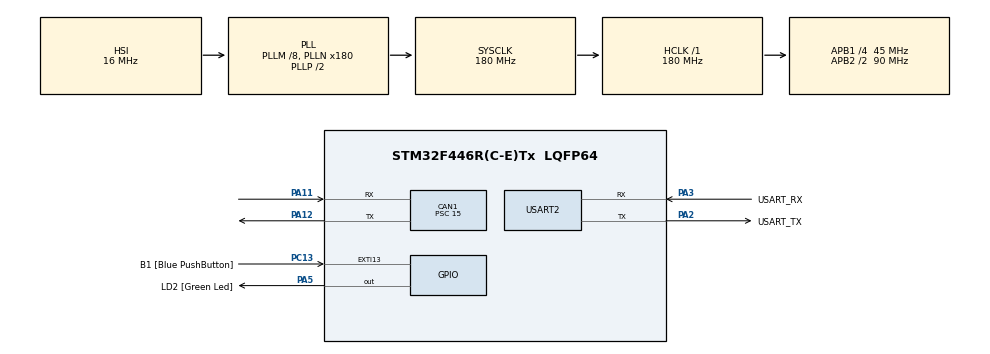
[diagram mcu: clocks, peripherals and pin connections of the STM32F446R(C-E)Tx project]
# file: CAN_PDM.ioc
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CAN1.BS1=CAN_BS1_2TQ
CAN1.BS2=CAN_BS2_3TQ
CAN1.CalculateBaudRate=500000
CAN1.CalculateTimeBit=2000
CAN1.CalculateTimeQuantum=333.3333333333333
CAN1.Prescaler=15
Mcu.Family=STM32F4
Mcu.Name=STM32F446R(C-E)Tx
Mcu.Package=LQFP64
NVIC.PriorityGroup=NVIC_PRIORITYGROUP_0
PA11.GPIO_PuPd=GPIO_PULLUP
PA11.Mode=CAN_Activate
PA11.Signal=CAN1_RX
PA12.Mode=CAN_Activate
PA12.Signal=CAN1_TX
PA13.GPIO_Label=TMS
PA13.Mode=Serial_Wire
PA13.Signal=SYS_JTMS-SWDIO
PA14.GPIO_Label=TCK
PA14.Mode=Serial_Wire
PA14.Signal=SYS_JTCK-SWCLK
PA2.GPIO_Label=USART_TX
PA2.Mode=Asynchronous
PA2.Signal=USART2_TX
PA3.GPIO_Label=USART_RX
PA3.Mode=Asynchronous
PA3.Signal=USART2_RX
PA5.GPIO_Label=LD2 [Green Led]
PA5.Signal=GPIO_Output
PB3.GPIO_Label=SWO
PB3.Signal=SYS_JTDO-SWO
PC13.GPIO_Label=B1 [Blue PushButton]
PC13.GPIO_ModeDefaultEXTI=GPIO_MODE_IT_FALLING
PC13.Signal=GPXTI13
PC14-OSC32_IN.Mode=LSE-External-Oscillator
PC14-OSC32_IN.Signal=RCC_OSC32_IN
PC15-OSC32_OUT.Mode=LSE-External-Oscillator
PC15-OSC32_OUT.Signal=RCC_OSC32_OUT
PH0-OSC_IN.Mode=HSE-External-Oscillator
PH0-OSC_IN.Signal=RCC_OSC_IN
PH1-OSC_OUT.Mode=HSE-External-Oscillator
PH1-OSC_OUT.Signal=RCC_OSC_OUT
ProjectManager.HeapSize=0x200
ProjectManager.StackSize=0x400
ProjectManager.TargetToolchain=STM32CubeIDE
RCC.48MHZClocksFreq_Value=84000000
RCC.AHBFreq_Value=180000000
RCC.APB1CLKDivider=RCC_HCLK_DIV4
RCC.APB1Freq_Value=45000000
RCC.APB1TimFreq_Value=90000000
RCC.APB2CLKDivider=RCC_HCLK_DIV2
RCC.APB2Freq_Value=90000000
RCC.APB2TimFreq_Value=180000000
RCC.CortexFreq_Value=180000000
RCC.FLatency-AdvancedSettings=FLASH_LATENCY_5
RCC.HCLKFreq_Value=180000000
RCC.HSE_VALUE=8000000
RCC.HSI_VALUE=16000000
RCC.PLLM=8
RCC.PLLN=180
RCC.SYSCLKFreq_VALUE=180000000
RCC.SYSCLKSource=RCC_SYSCLKSOURCE_PLLCLK
RCC.USBFreq_Value=180000000
RCC.VCOOutputFreq_Value=360000000
USART2.VirtualMode=VM_ASYNC
board=NUCLEO-F446RE

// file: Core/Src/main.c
/* USER CODE BEGIN Header */
/**
  ******************************************************************************
  * @file           : main.c
  * @brief          : Main program body
  ******************************************************************************
  * @attention
  *
  * Copyright (c) 2024 STMicroelectronics.
  * All rights reserved.
  *
  * This software is licensed under terms that can be found in the LICENSE file
  * in the root directory of this software component.
  * If no LICENSE file comes with this software, it is provided AS-IS.
  *
  ******************************************************************************
  */
/* USER CODE END Header */
#include "main.h"
#include "can.h"
#include "usart.h"
#include "gpio.h"

void SystemClock_Config(void);

/* USER CODE BEGIN 0 */
// Definizione del messaggio CAN
CAN_TxHeaderTypeDef TxHeader;
uint32_t TxMailbox;
uint8_t TxData[8]; // Dati da inviare, massimo 8 byte per standard CAN
uint8_t alive_counter = 0;  // Contatore per il messaggio "alive"

// Funzione che invia il messaggio "alive" via CAN
void Send_CAN_Alive(void) {
    TxData[1] = alive_counter++;  // Incrementa il contatore "alive"
    if (HAL_CAN_AddTxMessage(&hcan1, &TxHeader, TxData, &TxMailbox) != HAL_OK) {
        // Gestione errore di trasmissione
        Error_Handler();
    }
}

/* USER CODE END 0 */

int main(void)
{

  /* MCU Configuration--------------------------------------------------------*/

  /* Reset of all peripherals, Initializes the Flash interface and the Systick. */
  HAL_Init();

  /* Configure the system clock */
  SystemClock_Config();

  /* Initialize all configured peripherals */
  MX_GPIO_Init();
  MX_USART2_UART_Init();
  MX_CAN1_Init();
  HAL_CAN_Start(&hcan1);
  /* USER CODE BEGIN 2 */
  TxHeader.IDE = CAN_ID_STD;           // Formato ID standard
  TxHeader.StdId = 0x100;              // ID standard del messaggio "alive"
  TxHeader.RTR = CAN_RTR_DATA;         // Frame di dati
  TxHeader.DLC = 2;                    // Lunghezza dati (puoi usare 1 o 2 byte)
  TxHeader.TransmitGlobalTime = DISABLE;

  // Inizializza i dati del messaggio (puoi personalizzarli)
  TxData[0] = 0x55;   // Dato fisso
  TxData[1] = alive_counter;  // Contatore alive

  /* USER CODE END 2 */

  /* Infinite loop */
  while (1)
  {
      Send_CAN_Alive();
        HAL_Delay(100);  // Ritardo di 1 secondo (1000 ms)
  }
}

void SystemClock_Config(void)
{
  RCC_OscInitTypeDef RCC_OscInitStruct = {0};
  RCC_ClkInitTypeDef RCC_ClkInitStruct = {0};

  /** Configure the main internal regulator output voltage
  */
  __HAL_RCC_PWR_CLK_ENABLE();
  __HAL_PWR_VOLTAGESCALING_CONFIG(PWR_REGULATOR_VOLTAGE_SCALE1);

  /** Initializes the RCC Oscillators according to the specified parameters
  * in the RCC_OscInitTypeDef structure.
  */
  RCC_OscInitStruct.OscillatorType = RCC_OSCILLATORTYPE_HSI;
  RCC_OscInitStruct.HSIState = RCC_HSI_ON;
  RCC_OscInitStruct.HSICalibrationValue = RCC_HSICALIBRATION_DEFAULT;
  RCC_OscInitStruct.PLL.PLLState = RCC_PLL_ON;
  RCC_OscInitStruct.PLL.PLLSource = RCC_PLLSOURCE_HSI;
  RCC_OscInitStruct.PLL.PLLM = 8;
  RCC_OscInitStruct.PLL.PLLN = 180;
  RCC_OscInitStruct.PLL.PLLP = RCC_PLLP_DIV2;
  RCC_OscInitStruct.PLL.PLLQ = 2;
  RCC_OscInitStruct.PLL.PLLR = 2;
  if (HAL_RCC_OscConfig(&RCC_OscInitStruct) != HAL_OK)
  {
    Error_Handler();
  }

  /** Activate the Over-Drive mode
  */
  if (HAL_PWREx_EnableOverDrive() != HAL_OK)
  {
    Error_Handler();
  }

  /** Initializes the CPU, AHB and APB buses clocks
  */
  RCC_ClkInitStruct.ClockType = RCC_CLOCKTYPE_HCLK|RCC_CLOCKTYPE_SYSCLK
                              |RCC_CLOCKTYPE_PCLK1|RCC_CLOCKTYPE_PCLK2;
  RCC_ClkInitStruct.SYSCLKSource = RCC_SYSCLKSOURCE_PLLCLK;
  RCC_ClkInitStruct.AHBCLKDivider = RCC_SYSCLK_DIV1;
  RCC_ClkInitStruct.APB1CLKDivider = RCC_HCLK_DIV4;
  RCC_ClkInitStruct.APB2CLKDivider = RCC_HCLK_DIV2;

  if (HAL_RCC_ClockConfig(&RCC_ClkInitStruct, FLASH_LATENCY_5) != HAL_OK)
  {
    Error_Handler();
  }
}

void Error_Handler(void)
{
  __disable_irq();
  while (1)
  {
  }
}
